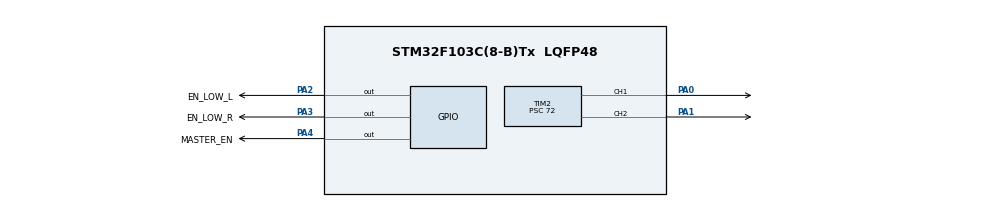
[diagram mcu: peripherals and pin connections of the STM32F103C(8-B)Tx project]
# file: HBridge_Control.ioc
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Mcu.Family=STM32F1
Mcu.Name=STM32F103C(8-B)Tx
Mcu.Package=LQFP48
NVIC.PriorityGroup=NVIC_PRIORITYGROUP_4
PA0-WKUP.Signal=S_TIM2_CH1_ETR
PA1.Signal=S_TIM2_CH2
PA2.GPIO_Label=EN_LOW_L
PA2.Signal=GPIO_Output
PA3.GPIO_Label=EN_LOW_R
PA3.Signal=GPIO_Output
PA4.GPIO_Label=MASTER_EN
PA4.Signal=GPIO_Output
ProjectManager.HeapSize=0x200
ProjectManager.StackSize=0x400
ProjectManager.TargetToolchain=STM32CubeIDE
RCC.APB1Freq_Value=8000000
RCC.APB2Freq_Value=8000000
SH.S_TIM2_CH1_ETR.0=TIM2_CH1,PWM Generation1 CH1
SH.S_TIM2_CH2.0=TIM2_CH2,PWM Generation2 CH2
TIM2.Channel-PWM\ Generation1\ CH1=TIM_CHANNEL_1
TIM2.Channel-PWM\ Generation2\ CH2=TIM_CHANNEL_2
TIM2.Period=1000
TIM2.Prescaler=72
VP_SYS_VS_ND.Mode=No_Debug
board=custom

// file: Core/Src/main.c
/* USER CODE BEGIN Header */
/**
  ******************************************************************************
  * @file           : main.c
  * @brief          : Main program body
  ******************************************************************************
  * @attention
  *
  * Copyright (c) 2026 STMicroelectronics.
  * All rights reserved.
  *
  * This software is licensed under terms that can be found in the LICENSE file
  * in the root directory of this software component.
  * If no LICENSE file comes with this software, it is provided AS-IS.
  *
  ******************************************************************************
  */
/* USER CODE END Header */
#include "main.h"

/* USER CODE BEGIN PD */
#define MOTOR_SPEED_HIGH 800
#define MOTOR_SPEED_LOW  400
#define DEAD_TIME_MS     500

/* USER CODE END PD */

TIM_HandleTypeDef htim2;

void SystemClock_Config(void);
static void MX_GPIO_Init(void);
static void MX_TIM2_Init(void);

/* USER CODE BEGIN 0 */

void Motor_Stop(void) {
    HAL_TIM_PWM_Stop(&htim2, TIM_CHANNEL_1);
    HAL_TIM_PWM_Stop(&htim2, TIM_CHANNEL_2);
    HAL_GPIO_WritePin(GPIOA, GPIO_PIN_2 | GPIO_PIN_3, GPIO_PIN_RESET);
    HAL_Delay(DEAD_TIME_MS); // Donanımı korumak için bekleme
}

void Motor_Drive(uint8_t direction, uint16_t speed) {
    Motor_Stop(); // Her yön değişiminden önce güvenli duruş

    if(direction == 1) { // İLERİ
        HAL_GPIO_WritePin(GPIOA, GPIO_PIN_3, GPIO_PIN_SET);   // Sağ Alt Açık
        HAL_TIM_PWM_Start(&htim2, TIM_CHANNEL_1);            // Sol Üst PWM
        __HAL_TIM_SET_COMPARE(&htim2, TIM_CHANNEL_1, speed);
    }
    else if(direction == 2) { // GERİ
        HAL_GPIO_WritePin(GPIOA, GPIO_PIN_2, GPIO_PIN_SET);   // Sol Alt Açık
        HAL_TIM_PWM_Start(&htim2, TIM_CHANNEL_2);            // Sağ Üst PWM
        __HAL_TIM_SET_COMPARE(&htim2, TIM_CHANNEL_2, speed);
    }
}

/* USER CODE END 0 */

int main(void)
{

  /* MCU Configuration--------------------------------------------------------*/

  /* Reset of all peripherals, Initializes the Flash interface and the Systick. */
  HAL_Init();

  /* Configure the system clock */
  SystemClock_Config();

  /* Initialize all configured peripherals */
  MX_GPIO_Init();
  MX_TIM2_Init();

  /* Infinite loop */
  while (1)
  {

    /* USER CODE BEGIN 3 */

	  HAL_GPIO_WritePin(GPIOA, GPIO_PIN_4, GPIO_PIN_SET); // MASTER_EN

	      // 2. Senaryo: İleri Hızlı -> Bekle -> Geri Yavaş -> Bekle
	      Motor_Drive(1, MOTOR_SPEED_HIGH);
	      HAL_Delay(3000);

	      Motor_Stop();
	      HAL_Delay(1000);

	      Motor_Drive(2, MOTOR_SPEED_LOW);
	      HAL_Delay(3000);

	      Motor_Stop();
	      HAL_Delay(1000);
  }
  /* USER CODE END 3 */
}

void SystemClock_Config(void)
{
  RCC_OscInitTypeDef RCC_OscInitStruct = {0};
  RCC_ClkInitTypeDef RCC_ClkInitStruct = {0};

  /** Initializes the RCC Oscillators according to the specified parameters
  * in the RCC_OscInitTypeDef structure.
  */
  RCC_OscInitStruct.OscillatorType = RCC_OSCILLATORTYPE_HSI;
  RCC_OscInitStruct.HSIState = RCC_HSI_ON;
  RCC_OscInitStruct.HSICalibrationValue = RCC_HSICALIBRATION_DEFAULT;
  RCC_OscInitStruct.PLL.PLLState = RCC_PLL_NONE;
  if (HAL_RCC_OscConfig(&RCC_OscInitStruct) != HAL_OK)
  {
    Error_Handler();
  }

  /** Initializes the CPU, AHB and APB buses clocks
  */
  RCC_ClkInitStruct.ClockType = RCC_CLOCKTYPE_HCLK|RCC_CLOCKTYPE_SYSCLK
                              |RCC_CLOCKTYPE_PCLK1|RCC_CLOCKTYPE_PCLK2;
  RCC_ClkInitStruct.SYSCLKSource = RCC_SYSCLKSOURCE_HSI;
  RCC_ClkInitStruct.AHBCLKDivider = RCC_SYSCLK_DIV1;
  RCC_ClkInitStruct.APB1CLKDivider = RCC_HCLK_DIV1;
  RCC_ClkInitStruct.APB2CLKDivider = RCC_HCLK_DIV1;

  if (HAL_RCC_ClockConfig(&RCC_ClkInitStruct, FLASH_LATENCY_0) != HAL_OK)
  {
    Error_Handler();
  }
}

static void MX_TIM2_Init(void)
{

  TIM_MasterConfigTypeDef sMasterConfig = {0};
  TIM_OC_InitTypeDef sConfigOC = {0};

  htim2.Instance = TIM2;
  htim2.Init.Prescaler = 72;
  htim2.Init.CounterMode = TIM_COUNTERMODE_UP;
  htim2.Init.Period = 1000;
  htim2.Init.ClockDivision = TIM_CLOCKDIVISION_DIV1;
  htim2.Init.AutoReloadPreload = TIM_AUTORELOAD_PRELOAD_DISABLE;
  if (HAL_TIM_PWM_Init(&htim2) != HAL_OK)
  {
    Error_Handler();
  }
  sMasterConfig.MasterOutputTrigger = TIM_TRGO_RESET;
  sMasterConfig.MasterSlaveMode = TIM_MASTERSLAVEMODE_DISABLE;
  if (HAL_TIMEx_MasterConfigSynchronization(&htim2, &sMasterConfig) != HAL_OK)
  {
    Error_Handler();
  }
  sConfigOC.OCMode = TIM_OCMODE_PWM1;
  sConfigOC.Pulse = 0;
  sConfigOC.OCPolarity = TIM_OCPOLARITY_HIGH;
  sConfigOC.OCFastMode = TIM_OCFAST_DISABLE;
  if (HAL_TIM_PWM_ConfigChannel(&htim2, &sConfigOC, TIM_CHANNEL_1) != HAL_OK)
  {
    Error_Handler();
  }
  if (HAL_TIM_PWM_ConfigChannel(&htim2, &sConfigOC, TIM_CHANNEL_2) != HAL_OK)
  {
    Error_Handler();
  }
  HAL_TIM_MspPostInit(&htim2);

}

static void MX_GPIO_Init(void)
{
  GPIO_InitTypeDef GPIO_InitStruct = {0};

  /* GPIO Ports Clock Enable */
  __HAL_RCC_GPIOA_CLK_ENABLE();

  /*Configure GPIO pin Output Level */
  HAL_GPIO_WritePin(GPIOA, EN_LOW_L_Pin|EN_LOW_R_Pin|MASTER_EN_Pin, GPIO_PIN_RESET);

  /*Configure GPIO pins : EN_LOW_L_Pin EN_LOW_R_Pin MASTER_EN_Pin */
  GPIO_InitStruct.Pin = EN_LOW_L_Pin|EN_LOW_R_Pin|MASTER_EN_Pin;
  GPIO_InitStruct.Mode = GPIO_MODE_OUTPUT_PP;
  GPIO_InitStruct.Pull = GPIO_NOPULL;
  GPIO_InitStruct.Speed = GPIO_SPEED_FREQ_LOW;
  HAL_GPIO_Init(GPIOA, &GPIO_InitStruct);

}

void Error_Handler(void)
{
  __disable_irq();
  while (1)
  {
  }
}
